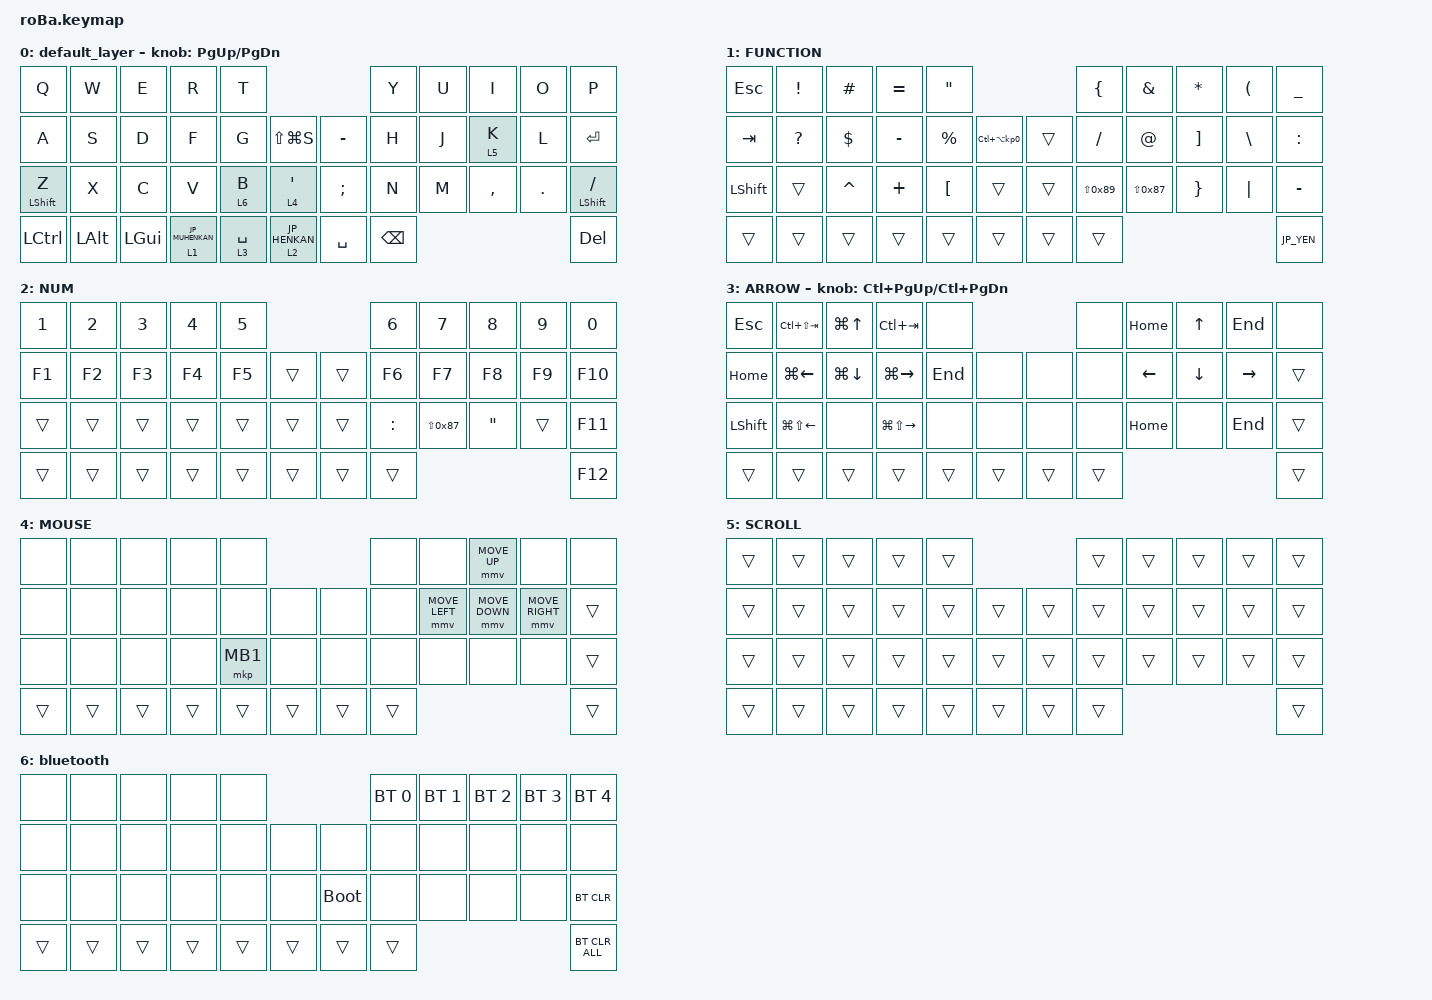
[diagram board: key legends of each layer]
#include <behaviors.dtsi>
#include <dt-bindings/zmk/bt.h>
#include <dt-bindings/zmk/keys.h>
#include <dt-bindings/zmk/pointing.h>

#define JP_DQUOTE       AT                // "
#define JP_AMPERSAND    CARET             // &
#define JP_QUOTE        AMPERSAND         // '
#define JP_EQUAL        UNDER             // =
#define JP_CARET        EQUAL             // ^
#define JP_YEN          0x89              // ¥
#define JP_PLUS         COLON             // +
#define JP_TILDE        PLUS              // ~
#define JP_PIPE         LS(0x89)          // |
#define JP_AT           LEFT_BRACKET      // @
#define JP_COLON        SINGLE_QUOTE      // :
#define JP_ASTERISK     DOUBLE_QUOTES     // *
#define JP_BACKQUOTE    LEFT_BRACE        // `
#define JP_UNDERSCORE   LS(0x87)          // _
#define JP_LBRACKET     RIGHT_BRACKET     // [
#define JP_RBRACKET     BACKSLASH         // ]
#define JP_LPAREN       ASTERISK          // (
#define JP_RPAREN       LEFT_PARENTHESIS  // )
#define JP_LBRACE       RIGHT_BRACE       // {
#define JP_RBRACE       PIPE              // }
#define JP_KANA         LANGUAGE_1        // かな
#define JP_EISU         LANGUAGE_2        // 英数
#define JP_HANZEN       GRAVE             // 半角/全角
#define JP_HENKAN       0x8A              // 変換
#define JP_MUHENKAN     0x8B              // 無変換

&mt {
    flavor = "balanced";
    quick-tap-ms = <0>;
};

&trackball {
    // automouse-layer = <4>;
    scroll-layers = <5>;

    arrows {
        layers = <3>;
        bindings =
            <&kp RIGHT_ARROW>,
            <&kp LEFT_ARROW>,
            <&kp UP_ARROW>,
            <&kp DOWN_ARROW>;

        tick = <10>;
        wait-ms = <5>;
        tap-ms = <5>;
    };
};

/ {
    combos {
        compatible = "zmk,combos";

        tab {
            timeout-ms = <30>;
            bindings = <&kp TAB>;
            key-positions = <1 2>;
            require-prior-idle-ms = <120>; 
        };

        escape {
            timeout-ms = <30>;
            bindings = <&to_layer_0 ESCAPE>;
            key-positions = <0 1>;
            require-prior-idle-ms = <120>; 
        };

        mouse_left {
            timeout-ms = <30>;
            bindings = <&mkp MB1>;
            key-positions = <18 19>;
            require-prior-idle-ms = <120>; 
        };

        mouse_right {
            timeout-ms = <30>;
            bindings = <&mkp RCLK>;
            key-positions = <19 20>;
            require-prior-idle-ms = <120>; 
        };
    };

    macros {
        to_layer_0: to_layer_0 {
            compatible = "zmk,behavior-macro-one-param";
            #binding-cells = <1>;
            bindings = <&to 0 &macro_param_1to1 &kp MACRO_PLACEHOLDER>;
            label = "TO_LAYER_0";
        };
    };

    behaviors {
        lt_to_layer_0: lt_to_layer_0 {
            compatible = "zmk,behavior-hold-tap";
            label = "LAYER_TAP_TO_0";
            bindings = <&mo>, <&to_layer_0>;

            #binding-cells = <2>;
            tapping-term-ms = <200>;
        };
    };

    keymap {
        compatible = "zmk,keymap";

        default_layer {
            bindings = <
&kp Q             &kp W     &kp E         &kp R              &kp T                                             &kp Y            &kp U  &kp I      &kp O    &kp P
&kp A             &kp S     &kp D         &kp F              &kp G        &kp LS(LG(S))        &kp MINUS       &kp H            &kp J  &lt 5 K    &kp L    &kp ENTER
&mt LEFT_SHIFT Z  &kp X     &kp C         &kp V              &lt 6 B      &lt 4 JP_COLON       &kp SEMICOLON   &kp N            &kp M  &kp COMMA  &kp DOT  &mt LEFT_SHIFT SLASH
&kp LCTRL         &kp LALT  &kp LEFT_GUI  &lt 1 JP_MUHENKAN  &lt 3 SPACE  &lt 2 JP_HENKAN      &kp SPACE       &kp BACKSPACE                               &kp DEL
            >;

            sensor-bindings = <&inc_dec_kp PG_UP PAGE_DOWN>;
        };

        FUNCTION {
            bindings = <
&kp ESC         &kp EXCLAMATION  &kp HASH          &kp JP_CARET  &kp JP_ASTERISK                                       &kp JP_BACKQUOTE  &kp JP_QUOTE       &kp JP_LPAREN    &kp JP_RPAREN    &kp JP_EQUAL
&kp TAB         &kp QUESTION     &kp DOLLAR        &kp MINUS     &kp PERCENT      &kp LC(LA(KP_NUMBER_0))      &trans  &kp SLASH         &kp JP_DQUOTE      &kp JP_LBRACKET  &kp JP_RBRACKET  &kp JP_PLUS
&kp LEFT_SHIFT  &trans           &kp JP_AMPERSAND  &kp JP_TILDE  &kp JP_AT        &trans                       &trans  &kp JP_PIPE       &kp JP_UNDERSCORE  &kp JP_LBRACE    &kp JP_RBRACE    &kp MINUS
&trans          &trans           &trans            &trans        &trans           &trans                       &trans  &trans                                                                 &kp JP_YEN
            >;
        };

        NUM {
            bindings = <
&kp NUMBER_1  &kp NUMBER_2  &kp NUMBER_3  &kp NUMBER_4  &kp NUMBER_5                      &kp NUMBER_6  &kp NUMBER_7       &kp NUMBER_8     &kp NUMBER_9  &kp NUMBER_0
&kp F1        &kp F2        &kp F3        &kp F4        &kp F5        &trans      &trans  &kp F6        &kp F7             &kp F8           &kp F9        &kp F10
&trans        &trans        &trans        &trans        &trans        &trans      &trans  &kp JP_PLUS   &kp JP_UNDERSCORE  &kp JP_ASTERISK  &trans        &kp F11
&trans        &trans        &trans        &trans        &trans        &trans      &trans  &trans                                                          &kp F12
            >;
        };

        ARROW {
            bindings = <
&kp ESCAPE      &kp LC(LS(TAB))         &kp LG(UP_ARROW)    &kp LC(TAB)              &none                       &none  &kp HOME        &kp UP_ARROW    &kp END          &none
&kp HOME        &kp LG(LEFT_ARROW)      &kp LG(DOWN_ARROW)  &kp LG(RIGHT_ARROW)      &kp END   &none      &none  &none  &kp LEFT_ARROW  &kp DOWN_ARROW  &kp RIGHT_ARROW  &trans
&kp LEFT_SHIFT  &kp LG(LS(LEFT_ARROW))  &none               &kp LG(LS(RIGHT_ARROW))  &none     &none      &none  &none  &kp HOME        &none           &kp END          &trans
&trans          &trans                  &trans              &trans                   &trans    &trans     &trans &trans                                                  &trans
            >;

            sensor-bindings = <&inc_dec_kp LC(PAGE_UP) LC(PAGE_DOWN)>;
        };

        MOUSE {
            bindings = <
&none   &none  &none  &none  &none                        &none  &none          &mmv MOVE_UP    &none           &none
&none   &none  &none  &none  &none     &none      &none   &none  &mmv MOVE_LEFT  &mmv MOVE_DOWN  &mmv MOVE_RIGHT  &trans
&none   &none  &none  &none  &mkp MB1  &none      &none   &none  &none          &none          &none           &trans
&trans  &trans &trans &trans &trans    &trans     &trans  &trans                                                   &trans
            >;
        };

        SCROLL {
            bindings = <
&trans  &trans  &trans  &trans  &trans                      &trans  &trans  &trans  &trans  &trans
&trans  &trans  &trans  &trans  &trans  &trans      &trans  &trans  &trans  &trans  &trans  &trans
&trans  &trans  &trans  &trans  &trans  &trans      &trans  &trans  &trans  &trans  &trans  &trans
&trans  &trans  &trans  &trans  &trans  &trans      &trans  &trans                          &trans
            >;
        };

        bluetooth {
            bindings = <
&none  &none  &none  &none  &none                           &bt BT_SEL 0  &bt BT_SEL 1  &bt BT_SEL 2  &bt BT_SEL 3  &bt BT_SEL 4
&none  &none  &none  &none  &none  &none      &none         &none         &none         &none         &none         &none
&none  &none  &none  &none  &none  &none      &bootloader   &none         &none         &none         &none         &bt BT_CLR
&trans &trans &trans &trans &trans &trans     &trans        &trans                                                  &bt BT_CLR_ALL
            >;
        };
    };
};
